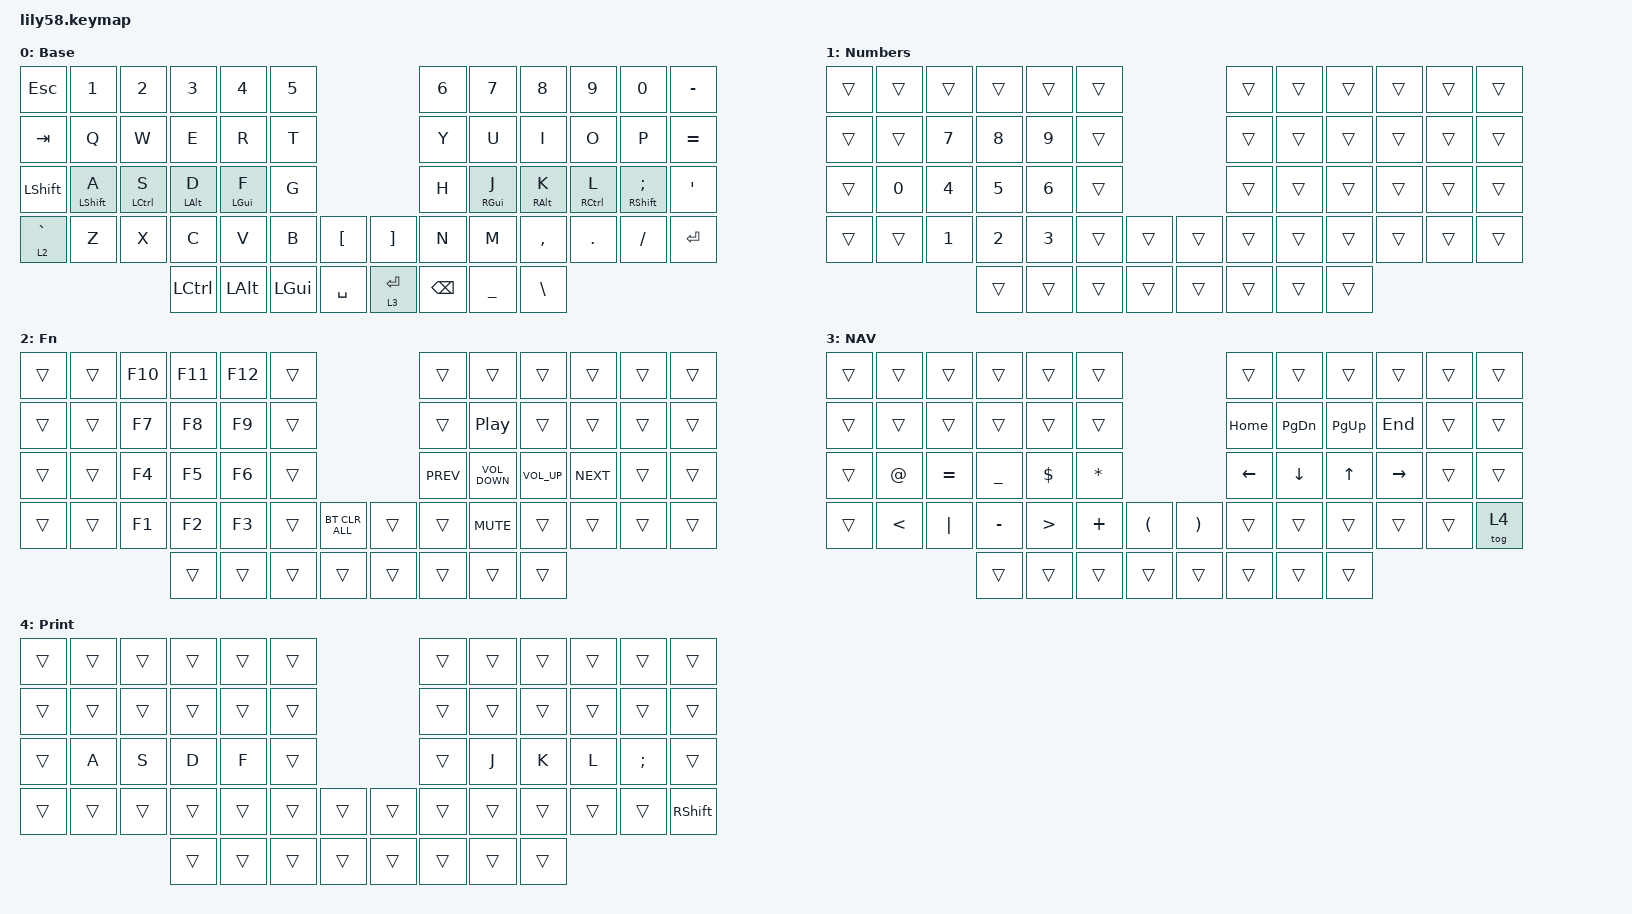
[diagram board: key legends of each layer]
/*
 * Copyright (c) 2020 The ZMK Contributors
 *
 * SPDX-License-Identifier: MIT
 */

#include <behaviors.dtsi>
#include <dt-bindings/zmk/bt.h>
#include <dt-bindings/zmk/keys.h>

/ {
    behaviors {
        hrl: hrl {
            compatible = "zmk,behavior-hold-tap";
            label = "HRL";
            bindings = <&kp>, <&kp>;

            #binding-cells = <2>;
            tapping-term-ms = <200>;
            quick-tap-ms = <175>;
            require-prior-idle-ms = <150>;
            flavor = "balanced";
            hold-trigger-on-release;
            hold-trigger-key-positions = <50 51 52 53 54 43 44 57 56 55 45 46 47 48 49 35 34 33 32 31 30 18 19 20 21 22 23 11 10 9 8 7 6>;
        };

        hrr: hrr {
            compatible = "zmk,behavior-hold-tap";
            label = "HRR";
            bindings = <&kp>, <&kp>;

            #binding-cells = <2>;
            tapping-term-ms = <200>;
            quick-tap-ms = <175>;
            require-prior-idle-ms = <150>;
            flavor = "balanced";
            hold-trigger-on-release;
            hold-trigger-key-positions = <57 56 55 54 53 52 51 50 39 38 26 14 2 1 13 25 37 36 24 12 0 3 15 27 40 28 16 4 17 29 5 41 42>;
        };
    };

    keymap {
        compatible = "zmk,keymap";

        default_layer {
            // ------------------------------------------------------------------------------------------------------------
            // |  ESC  |  1  |  2  |  3   |  4   |  5   |                   |  6   |  7    |  8    |  9   |   0   |   `   |
            // |  TAB  |  Q  |  W  |  E   |  R   |  T   |                   |  Y   |  U    |  I    |  O   |   P   |   -   |
            // |  CTRL |  A  |  S  |  D   |  F   |  G   |                   |  H   |  J    |  K    |  L   |   ;   |   '   |
            // | SHIFT |  Z  |  X  |  C   |  V   |  B   |   "["  |  |  "]"  |  N   |  M    |  ,    |  .   |   /   | SHIFT |
            //                     | ALT  | GUI  | LOWER|  SPACE |  | ENTER | RAISE| BSPC  | GUI   |

            display-name = "Base";
            bindings = <
&kp ESC      &kp N1             &kp N2               &kp N3            &kp N4           &kp N5                                      &kp N6         &kp N7          &kp N8            &kp N9                &kp N0            &kp MINUS
&kp TAB      &kp Q              &kp W                &kp E             &kp R            &kp T                                       &kp Y          &kp U           &kp I             &kp O                 &kp P             &kp EQUAL
&kp LSHIFT   &hrl LEFT_SHIFT A  &hrl LEFT_CONTROL S  &hrl LEFT_ALT D   &hrl LEFT_GUI F  &kp G                                       &kp H          &hrr RGUI J     &hrr RIGHT_ALT K  &hrr RIGHT_CONTROL L  &hrr RSHIFT SEMI  &kp SQT
&lt 2 GRAVE  &kp Z              &kp X                &kp C             &kp V            &kp B     &kp LEFT_BRACKET    &kp RBKT      &kp N          &kp M           &kp COMMA         &kp DOT               &kp FSLH          &kp ENTER
                                                     &kp LEFT_CONTROL  &kp LEFT_ALT     &kp LGUI  &kp SPACE           &lt 3 RETURN  &kp BACKSPACE  &kp UNDERSCORE  &kp BSLH
            >;
        };

        Numbers {
            bindings = <
&trans  &trans  &trans  &trans  &trans  &trans                    &trans  &trans  &trans  &trans  &trans  &trans
&trans  &trans  &kp N7  &kp N8  &kp N9  &trans                    &trans  &trans  &trans  &trans  &trans  &trans
&trans  &kp N0  &kp N4  &kp N5  &kp N6  &trans                    &trans  &trans  &trans  &trans  &trans  &trans
&trans  &trans  &kp N1  &kp N2  &kp N3  &trans  &trans    &trans  &trans  &trans  &trans  &trans  &trans  &trans
                        &trans  &trans  &trans  &trans    &trans  &trans  &trans  &trans
            >;

            label = "Numbers";
        };

        Fn {
            bindings = <
&trans  &trans  &kp F10  &kp F11  &kp F12  &trans                            &trans      &trans             &trans           &trans      &trans  &trans
&trans  &trans  &kp F7   &kp F8   &kp F9   &trans                            &trans      &kp C_PP           &trans           &trans      &trans  &trans
&trans  &trans  &kp F4   &kp F5   &kp F6   &trans                            &kp C_PREV  &kp C_VOLUME_DOWN  &kp C_VOLUME_UP  &kp C_NEXT  &trans  &trans
&trans  &trans  &kp F1   &kp F2   &kp F3   &trans  &bt BT_CLR_ALL    &trans  &trans      &kp K_MUTE         &trans           &trans      &trans  &trans
                         &trans   &trans   &trans  &trans            &trans  &trans      &trans             &trans
            >;

            label = "Fn";
        };

        NAV {
            bindings = <
&trans  &trans         &trans     &trans          &trans            &trans                                                       &trans    &trans          &trans        &trans           &trans  &trans
&trans  &trans         &trans     &trans          &trans            &trans                                                       &kp HOME  &kp PG_DN       &kp PG_UP     &kp END          &trans  &trans
&trans  &kp AT_SIGN    &kp EQUAL  &kp UNDERSCORE  &kp DOLLAR        &kp ASTERISK                                                 &kp LEFT  &kp DOWN_ARROW  &kp UP_ARROW  &kp RIGHT_ARROW  &trans  &trans
&trans  &kp LESS_THAN  &kp PIPE   &kp MINUS       &kp GREATER_THAN  &kp PLUS      &kp LEFT_PARENTHESIS    &kp RIGHT_PARENTHESIS  &trans    &trans          &trans        &trans           &trans  &tog 4
                                  &trans          &trans            &trans        &trans                  &trans                 &trans    &trans          &trans
            >;
        };

        Print {
            bindings = <
&trans  &trans  &trans  &trans  &trans  &trans                    &trans  &trans  &trans  &trans  &trans    &trans
&trans  &trans  &trans  &trans  &trans  &trans                    &trans  &trans  &trans  &trans  &trans    &trans
&trans  &kp A   &kp S   &kp D   &kp F   &trans                    &trans  &kp J   &kp K   &kp L   &kp SEMI  &trans
&trans  &trans  &trans  &trans  &trans  &trans  &trans    &trans  &trans  &trans  &trans  &trans  &trans    &kp RSHFT
                        &trans  &trans  &trans  &trans    &trans  &trans  &trans  &trans
            >;
        };
    };
};
